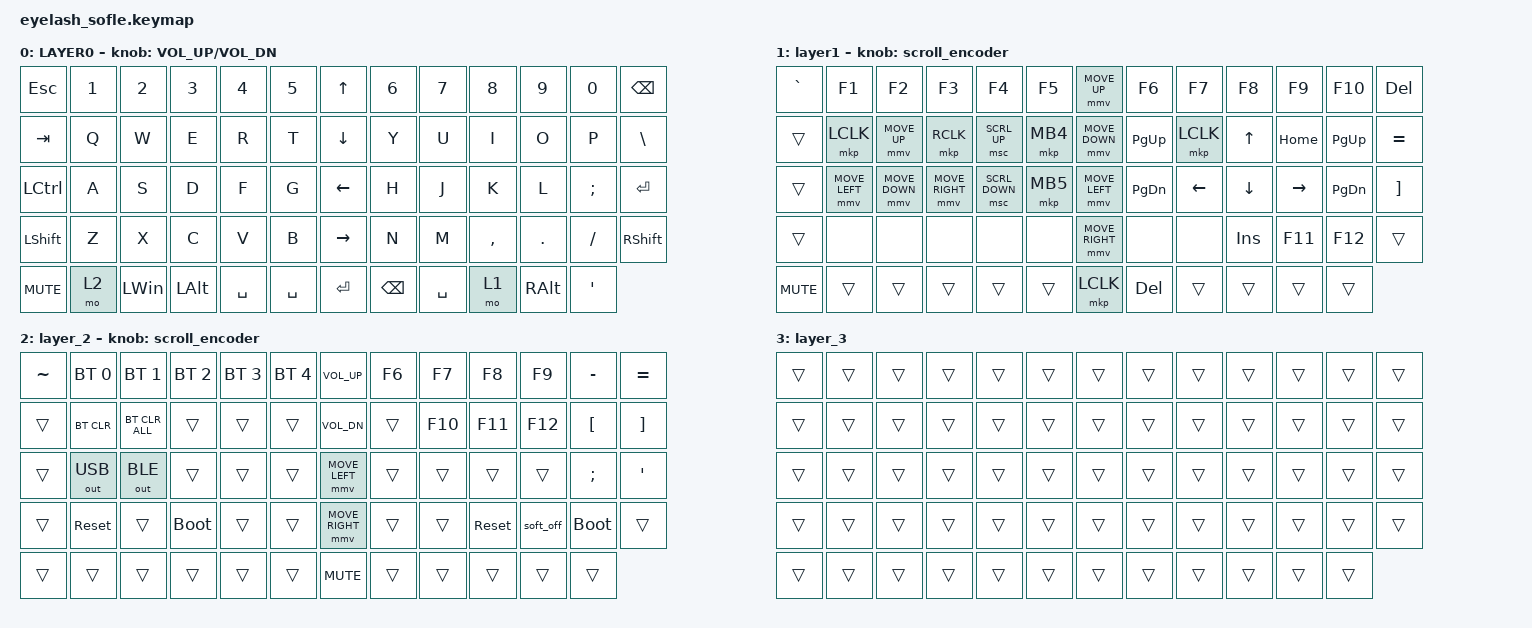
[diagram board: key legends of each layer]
#define ZMK_POINTING_DEFAULT_MOVE_VAL 1200  // 600
#define ZMK_POINTING_DEFAULT_SCRL_VAL 35    // 10

#include <input/processors.dtsi>
#include <zephyr/dt-bindings/input/input-event-codes.h>
#include <behaviors.dtsi>
#include <dt-bindings/zmk/bt.h>
#include <dt-bindings/zmk/keys.h>
#include <dt-bindings/zmk/outputs.h>
#include <dt-bindings/zmk/pointing.h>

/ {
    zip_scroll_scaler: zip_scroll_scaler {
        compatible = "zmk,input-processor-scaler";
        #input-processor-cells = <2>;
        type = <INPUT_EV_REL>;
        codes = <INPUT_REL_WHEEL INPUT_REL_HWHEEL>;
        track-remainders;
    };
};

&mmv_input_listener { input-processors = <&zip_xy_scaler 2 1>; };

&msc_input_listener { input-processors = <&zip_scroll_scaler 2 1>; };

&msc {
    acceleration-exponent = <0>;      // 0
    time-to-max-speed-ms = <0>;       // 300
    delay-ms = <0>;                   // 0
};

&mmv {
    time-to-max-speed-ms = <400>;
    acceleration-exponent = <1>;
};

/ {
    scroll_encoder: scroll_encoder {
        compatible = "zmk,behavior-sensor-rotate";
        #sensor-binding-cells = <0>;
        bindings = <&msc SCRL_DOWN>, <&msc SCRL_UP>;

        tap-ms = <30>;
    };

    behaviors {
    };

    keymap {
        compatible = "zmk,keymap";

        layer0 {
            bindings = <
&kp ESC     &kp N1  &kp N2        &kp N3        &kp N4     &kp N5       &kp UP_ARROW     &kp N6         &kp N7     &kp N8     &kp N9         &kp N0    &kp BACKSPACE
&kp TAB     &kp Q   &kp W         &kp E         &kp R      &kp T        &kp DOWN_ARROW   &kp Y          &kp U      &kp I      &kp O          &kp P     &kp BSLH
&kp LCTRL   &kp A   &kp S         &kp D         &kp F      &kp G        &kp LEFT_ARROW   &kp H          &kp J      &kp K      &kp L          &kp SEMI  &kp ENTER
&kp LSHFT   &kp Z   &kp X         &kp C         &kp V      &kp B        &kp RIGHT_ARROW  &kp N          &kp M      &kp COMMA  &kp DOT        &kp FSLH  &kp RIGHT_SHIFT
&kp C_MUTE  &mo 2   &kp LEFT_WIN  &kp LEFT_ALT  &kp SPACE  &kp SPACE    &kp ENTER        &kp BACKSPACE  &kp SPACE  &mo 1      &kp RIGHT_ALT  &kp SQT
            >;

            sensor-bindings = <&inc_dec_kp C_VOLUME_UP C_VOL_DN>;
            display-name = "LAYER0";
        };

        layer_1 {
            bindings = <
&kp GRAVE   &kp F1          &kp F2          &kp F3           &kp F4          &kp F5      &mmv MOVE_UP     &kp F6      &kp F7     &kp F8      &kp F9     &kp F10        &kp DELETE
&trans      &mkp LCLK       &mmv MOVE_UP    &mkp RCLK        &msc SCRL_UP    &mkp MB4    &mmv MOVE_DOWN   &kp PG_UP   &mkp LCLK  &kp UP      &kp HOME   &kp PAGE_UP    &kp EQUAL
&trans      &mmv MOVE_LEFT  &mmv MOVE_DOWN  &mmv MOVE_RIGHT  &msc SCRL_DOWN  &mkp MB5    &mmv MOVE_LEFT   &kp PG_DN   &kp LEFT   &kp DOWN    &kp RIGHT  &kp PAGE_DOWN  &kp RIGHT_BRACKET
&trans      &none           &none           &none            &none           &none       &mmv MOVE_RIGHT  &none       &none      &kp INSERT  &kp F11    &kp F12        &trans
&kp C_MUTE  &trans          &trans          &trans           &trans          &trans      &mkp LCLK        &kp DELETE  &trans     &trans      &trans     &trans
            >;

            display-name = "layer1";
            sensor-bindings = <&scroll_encoder>;
        };

        layer_2 {
            bindings = <
&kp TILDE  &bt BT_SEL 0  &bt BT_SEL 1    &bt BT_SEL 2  &bt BT_SEL 3  &bt BT_SEL 4    &kp C_VOLUME_UP  &kp F6  &kp F7   &kp F8      &kp F9     &kp MINUS       &kp EQUAL
&trans     &bt BT_CLR    &bt BT_CLR_ALL  &trans        &trans        &trans          &kp C_VOL_DN     &trans  &kp F10  &kp F11     &kp F12    &kp LEFT_BRACKET  &kp RIGHT_BRACKET
&trans     &out OUT_USB  &out OUT_BLE    &trans        &trans        &trans          &mmv MOVE_LEFT   &trans  &trans   &trans      &trans     &kp SEMICOLON   &kp SINGLE_QUOTE
&trans     &sys_reset    &trans          &bootloader   &trans        &trans          &mmv MOVE_RIGHT  &trans  &trans   &sys_reset  &soft_off  &bootloader     &trans
&trans     &trans        &trans          &trans        &trans        &trans          &kp K_MUTE       &trans  &trans   &trans      &trans     &trans
            >;

            sensor-bindings = <&scroll_encoder>;
        };

        layer_3 {
            bindings = <
&trans  &trans  &trans  &trans  &trans  &trans    &trans  &trans  &trans  &trans  &trans  &trans  &trans
&trans  &trans  &trans  &trans  &trans  &trans    &trans  &trans  &trans  &trans  &trans  &trans  &trans
&trans  &trans  &trans  &trans  &trans  &trans    &trans  &trans  &trans  &trans  &trans  &trans  &trans
&trans  &trans  &trans  &trans  &trans  &trans    &trans  &trans  &trans  &trans  &trans  &trans  &trans
&trans  &trans  &trans  &trans  &trans  &trans    &trans  &trans  &trans  &trans  &trans  &trans
            >;
        };
    };
};
